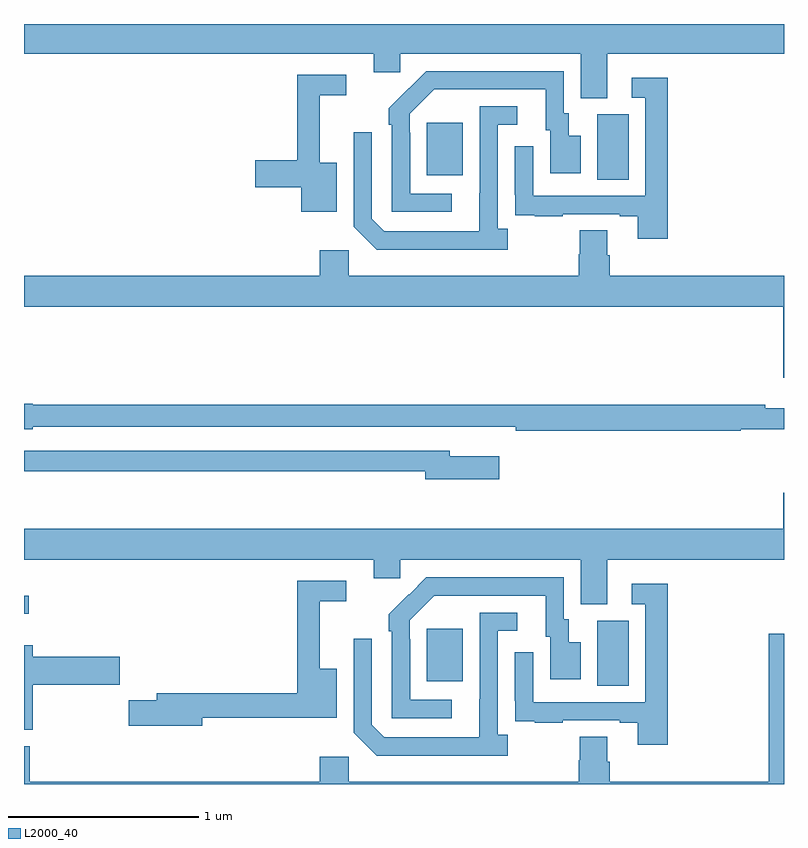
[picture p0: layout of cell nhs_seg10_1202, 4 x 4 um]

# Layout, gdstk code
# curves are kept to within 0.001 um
import gdstk
lib = gdstk.Library(unit=1e-6, precision=1e-09)
def R(c, l, rs):  # rectangles x0, y0, x1, y1
    for r in rs: c.add(gdstk.rectangle(r[:2], r[2:], *l))
def P(c, l, *ps):  # polygons
    for p in ps: c.add(gdstk.Polygon(p, *l))
L2000_40 = (2000, 40)

nhs_seg10_1202 = lib.new_cell('nhs_seg10_1202')
R(nhs_seg10_1202, L2000_40, [(176.018,1269.016,176.182,1269.36), (175.121,1269.041,175.309,1269.316), (173,1269.396,173.026,1269.492), (176.018,1271.68,176.182,1272.024), (175.121,1271.705,175.309,1271.98)])
P(nhs_seg10_1202, L2000_40, [(176.071,1272.344),(177,1272.344),(177,1272.5),(173,1272.5),(173,1272.344),(174.842,1272.344),(174.842,1272.246),(174.981,1272.246),(174.981,1272.344),(175.931,1272.344),(175.931,1272.109),(176.071,1272.109)],
  [(175.252,1271.607),(175.032,1271.607),(175.032,1271.927),(175.029,1271.927),(175.029,1272.027),(175.158,1272.156),(175.745,1272.156),(175.745,1271.94),(175.769,1271.94),(175.769,1271.715),(175.93,1271.715),(175.93,1271.911),(175.867,1271.911),(175.867,1272.03),(175.842,1272.03),(175.842,1272.252),(175.118,1272.252),(174.921,1272.057),(174.921,1271.969),(174.936,1271.969),(174.936,1271.511),(175.252,1271.511)],
  [(174.646,1271.77),(174.557,1271.77),(174.557,1272.126),(174.697,1272.126),(174.697,1272.234),(174.439,1272.234),(174.439,1271.783),(174.216,1271.783),(174.216,1271.641),(174.458,1271.641),(174.458,1271.513),(174.646,1271.513)],
  [(176.387,1272.217),(176.199,1272.217),(176.199,1272.111),(176.271,1272.111),(176.271,1271.595),(175.68,1271.595),(175.68,1271.857),(175.584,1271.857),(175.584,1271.602),(175.585,1271.602),(175.585,1271.493),(175.687,1271.493),(175.687,1271.487),(175.835,1271.487),(175.835,1271.499),(176.135,1271.499),(176.135,1271.487),(176.231,1271.487),(176.231,1271.37),(176.387,1271.37)],
  [(175.546,1271.422),(175.494,1271.422),(175.494,1271.97),(175.597,1271.97),(175.597,1272.066),(175.398,1272.066),(175.397,1271.409),(174.897,1271.409),(174.831,1271.475),(174.831,1271.929),(174.735,1271.929),(174.735,1271.433),(174.856,1271.312),(175.546,1271.312)],
  [(176.996,1270.638),(177,1270.638),(177,1271.176),(176.084,1271.176),(176.084,1271.282),(176.071,1271.282),(176.071,1271.414),(175.924,1271.414),(175.924,1271.289),(175.919,1271.289),(175.919,1271.176),(174.708,1271.176),(174.708,1271.308),(174.557,1271.308),(174.557,1271.176),(173,1271.176),(173,1271.012),(176.996,1271.012)],
  [(176.773,1270.368),(177,1270.368),(177,1270.477),(176.9,1270.477),(176.9,1270.496),(173.046,1270.496),(173.046,1270.502),(173,1270.502),(173,1270.367),(173.046,1270.367),(173.046,1270.38),(175.336,1270.38),(175.336,1270.379),(175.588,1270.379),(175.588,1270.36),(176.773,1270.36)],
  [(175.501,1270.225),(175.24,1270.225),(175.24,1270.254),(173,1270.254),(173,1270.146),(175.112,1270.146),(175.112,1270.103),(175.501,1270.103)],
  [(176.071,1269.68),(177,1269.68),(177,1270.033),(176.996,1270.033),(176.996,1269.844),(173,1269.844),(173,1269.68),(174.842,1269.68),(174.842,1269.582),(174.981,1269.582),(174.981,1269.68),(175.931,1269.68),(175.931,1269.445),(176.071,1269.445)],
  [(175.252,1268.943),(175.032,1268.943),(175.032,1269.263),(175.029,1269.263),(175.029,1269.363),(175.158,1269.492),(175.745,1269.492),(175.745,1269.276),(175.769,1269.276),(175.769,1269.051),(175.93,1269.051),(175.93,1269.247),(175.867,1269.247),(175.867,1269.366),(175.842,1269.366),(175.842,1269.588),(175.118,1269.588),(174.921,1269.393),(174.921,1269.305),(174.936,1269.305),(174.936,1268.847),(175.252,1268.847)],
  [(173.938,1268.85),(174.646,1268.85),(174.646,1269.106),(174.557,1269.106),(174.557,1269.462),(174.697,1269.462),(174.697,1269.57),(174.439,1269.57),(174.439,1268.978),(173.699,1268.978),(173.699,1268.942),(173.55,1268.942),(173.55,1268.807),(173.938,1268.807)],
  [(176.387,1269.553),(176.199,1269.553),(176.199,1269.447),(176.271,1269.447),(176.271,1268.931),(175.68,1268.931),(175.68,1269.193),(175.584,1269.193),(175.584,1268.938),(175.585,1268.938),(175.585,1268.829),(175.687,1268.829),(175.687,1268.823),(175.835,1268.823),(175.835,1268.835),(176.135,1268.835),(176.135,1268.823),(176.231,1268.823),(176.231,1268.706),(176.387,1268.706)],
  [(175.546,1268.758),(175.494,1268.758),(175.494,1269.306),(175.597,1269.306),(175.597,1269.402),(175.398,1269.402),(175.397,1268.745),(174.897,1268.745),(174.831,1268.811),(174.831,1269.265),(174.735,1269.265),(174.735,1268.769),(174.856,1268.648),(175.546,1268.648)],
  [(177,1269.292),(176.921,1269.292),(176.921,1268.512),(176.084,1268.512),(176.084,1268.618),(176.071,1268.618),(176.071,1268.75),(175.924,1268.75),(175.924,1268.625),(175.919,1268.625),(175.919,1268.512),(174.708,1268.512),(174.708,1268.644),(174.557,1268.644),(174.557,1268.512),(173.03,1268.512),(173.03,1268.7),(173,1268.7),(173,1268.5),(177,1268.5)],
  [(173.045,1269.023),(173.503,1269.023),(173.503,1269.17),(173.045,1269.17),(173.045,1269.229),(173,1269.229),(173,1268.785),(173.045,1268.785)])

lib.write_gds('nhs_seg10_1202.gds')
